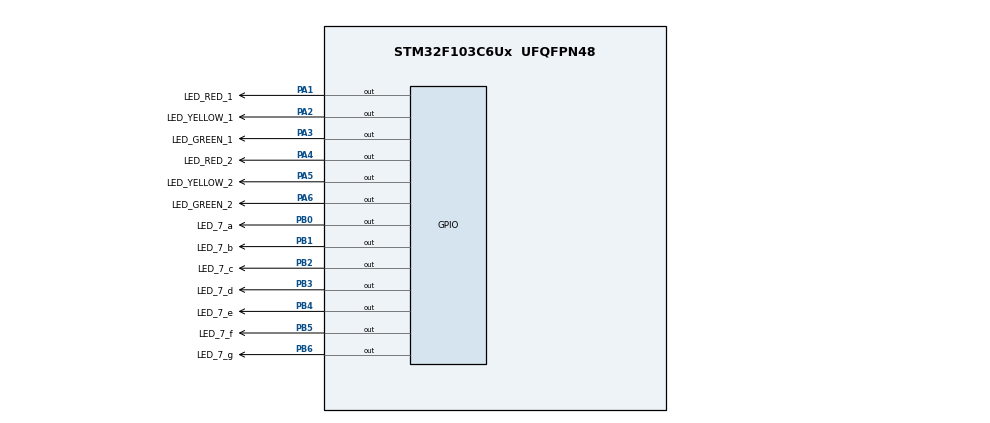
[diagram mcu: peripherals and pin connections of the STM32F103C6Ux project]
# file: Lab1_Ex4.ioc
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Mcu.Family=STM32F1
Mcu.Name=STM32F103C6Ux
Mcu.Package=UFQFPN48
NVIC.PriorityGroup=NVIC_PRIORITYGROUP_4
PA1.GPIO_Label=LED_RED_1
PA1.Signal=GPIO_Output
PA2.GPIO_Label=LED_YELLOW_1
PA2.Signal=GPIO_Output
PA3.GPIO_Label=LED_GREEN_1
PA3.Signal=GPIO_Output
PA4.GPIO_Label=LED_RED_2
PA4.Signal=GPIO_Output
PA5.GPIO_Label=LED_YELLOW_2
PA5.Signal=GPIO_Output
PA6.GPIO_Label=LED_GREEN_2
PA6.Signal=GPIO_Output
PB0.GPIO_Label=LED_7_a
PB0.Signal=GPIO_Output
PB1.GPIO_Label=LED_7_b
PB1.Signal=GPIO_Output
PB2.GPIO_Label=LED_7_c
PB2.Signal=GPIO_Output
PB3.GPIO_Label=LED_7_d
PB3.Signal=GPIO_Output
PB4.GPIO_Label=LED_7_e
PB4.Signal=GPIO_Output
PB5.GPIO_Label=LED_7_f
PB5.Signal=GPIO_Output
PB6.GPIO_Label=LED_7_g
PB6.Signal=GPIO_Output
ProjectManager.HeapSize=0x200
ProjectManager.StackSize=0x400
ProjectManager.TargetToolchain=STM32CubeIDE
RCC.APB1Freq_Value=8000000
RCC.APB2Freq_Value=8000000
VP_SYS_VS_ND.Mode=No_Debug
board=custom

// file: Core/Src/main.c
/* USER CODE BEGIN Header */
/**
  ******************************************************************************
  * @file           : main.c
  * @brief          : Main program body
  ******************************************************************************
  * @attention
  *
  * <h2><center>&copy; Copyright (c) 2022 STMicroelectronics.
  * All rights reserved.</center></h2>
  *
  * This software component is licensed by ST under BSD 3-Clause license,
  * the "License"; You may not use this file except in compliance with the
  * License. You may obtain a copy of the License at:
  *                        opensource.org/licenses/BSD-3-Clause
  *
  ******************************************************************************
  */
/* USER CODE END Header */
#include "main.h"

void SystemClock_Config(void);
static void MX_GPIO_Init(void);
/* USER CODE BEGIN PFP */
void display7SEG(int);
/* USER CODE END PFP */

int main(void)
{

  /* MCU Configuration--------------------------------------------------------*/

  /* Reset of all peripherals, Initializes the Flash interface and the Systick. */
  HAL_Init();

  /* Configure the system clock */
  SystemClock_Config();

  /* Initialize all configured peripherals */
  MX_GPIO_Init();
  int time_counter = 10;		// time counter
  int start = 0;				// flag to check if the leds are in their initial states or not
  int counter = 0;				// led 7-segment counter

  // set initial state for the horizontal leds
  HAL_GPIO_WritePin(LED_RED_1_GPIO_Port, LED_RED_1_Pin, GPIO_PIN_SET);
  HAL_GPIO_WritePin(LED_YELLOW_1_GPIO_Port, LED_YELLOW_1_Pin, GPIO_PIN_SET);
  HAL_GPIO_WritePin(LED_GREEN_1_GPIO_Port, LED_GREEN_1_Pin, GPIO_PIN_SET);

  // set initial state for the vertical leds
  HAL_GPIO_WritePin(LED_RED_2_GPIO_Port, LED_RED_2_Pin, GPIO_PIN_SET);
  HAL_GPIO_WritePin(LED_YELLOW_2_GPIO_Port, LED_YELLOW_2_Pin, GPIO_PIN_SET);
  HAL_GPIO_WritePin(LED_GREEN_2_GPIO_Port, LED_GREEN_2_Pin, GPIO_PIN_SET);
  /* Infinite loop */
  /* USER CODE BEGIN WHILE */
    while (1)
    {
    	// test led 7-segment
    	if (counter >= 10) counter = 0;
    	display7SEG(counter++);
      // RED horizontal ON, GREEN vertical ON
  	  if (start == 0){
  		  start = 1;
  		  HAL_GPIO_TogglePin(LED_RED_1_GPIO_Port, LED_RED_1_Pin);
  		  HAL_GPIO_TogglePin(LED_GREEN_2_GPIO_Port, LED_GREEN_2_Pin);
  	  }
  	  // GREEN vertical OFF, YELLOW vertical ON
  	  else if (time_counter == 8){
  		  HAL_GPIO_TogglePin(LED_GREEN_2_GPIO_Port, LED_GREEN_2_Pin);
  		  HAL_GPIO_TogglePin(LED_YELLOW_2_GPIO_Port, LED_YELLOW_2_Pin);
  	  }
  	  // RED horizontal and YELLOW vertical OFF, RED vertical and GREEN horizontal ON
  	  else if (time_counter == 5){
  		  HAL_GPIO_TogglePin(LED_RED_1_GPIO_Port, LED_RED_1_Pin);
  		  HAL_GPIO_TogglePin(LED_GREEN_1_GPIO_Port, LED_GREEN_1_Pin);
  		  HAL_GPIO_TogglePin(LED_YELLOW_2_GPIO_Port, LED_YELLOW_2_Pin);
  		  HAL_GPIO_TogglePin(LED_RED_2_GPIO_Port, LED_RED_2_Pin);
  	  }
  	  // GREEN horizontal OFF, YELLOW horizontal ON
  	  else if (time_counter == 3){
  		  HAL_GPIO_TogglePin(LED_GREEN_1_GPIO_Port, LED_GREEN_1_Pin);
  		  HAL_GPIO_TogglePin(LED_YELLOW_1_GPIO_Port, LED_YELLOW_1_Pin);
  	  }
  	  // YELLOW horizontal and RED vertical OFF, GREEN vertical and RED horizontal ON
  	  else if (time_counter == 0){
  		  time_counter = 10;
  		  HAL_GPIO_TogglePin(LED_YELLOW_1_GPIO_Port, LED_YELLOW_1_Pin);
  		  HAL_GPIO_TogglePin(LED_RED_1_GPIO_Port, LED_RED_1_Pin);
  		  HAL_GPIO_TogglePin(LED_RED_2_GPIO_Port, LED_RED_2_Pin);
  		  HAL_GPIO_TogglePin(LED_GREEN_2_GPIO_Port, LED_GREEN_2_Pin);
  	  }
  	  // decrement time_counter
  	  if (time_counter != 0) time_counter = time_counter - 1;
  	  HAL_Delay(1000);
    /* USER CODE END WHILE */

    }
}

void SystemClock_Config(void)
{
  RCC_OscInitTypeDef RCC_OscInitStruct = {0};
  RCC_ClkInitTypeDef RCC_ClkInitStruct = {0};

  /** Initializes the RCC Oscillators according to the specified parameters
  * in the RCC_OscInitTypeDef structure.
  */
  RCC_OscInitStruct.OscillatorType = RCC_OSCILLATORTYPE_HSI;
  RCC_OscInitStruct.HSIState = RCC_HSI_ON;
  RCC_OscInitStruct.HSICalibrationValue = RCC_HSICALIBRATION_DEFAULT;
  RCC_OscInitStruct.PLL.PLLState = RCC_PLL_NONE;
  if (HAL_RCC_OscConfig(&RCC_OscInitStruct) != HAL_OK)
  {
    Error_Handler();
  }
  /** Initializes the CPU, AHB and APB buses clocks
  */
  RCC_ClkInitStruct.ClockType = RCC_CLOCKTYPE_HCLK|RCC_CLOCKTYPE_SYSCLK
                              |RCC_CLOCKTYPE_PCLK1|RCC_CLOCKTYPE_PCLK2;
  RCC_ClkInitStruct.SYSCLKSource = RCC_SYSCLKSOURCE_HSI;
  RCC_ClkInitStruct.AHBCLKDivider = RCC_SYSCLK_DIV1;
  RCC_ClkInitStruct.APB1CLKDivider = RCC_HCLK_DIV1;
  RCC_ClkInitStruct.APB2CLKDivider = RCC_HCLK_DIV1;

  if (HAL_RCC_ClockConfig(&RCC_ClkInitStruct, FLASH_LATENCY_0) != HAL_OK)
  {
    Error_Handler();
  }
}

static void MX_GPIO_Init(void)
{
  GPIO_InitTypeDef GPIO_InitStruct = {0};

  /* GPIO Ports Clock Enable */
  __HAL_RCC_GPIOA_CLK_ENABLE();
  __HAL_RCC_GPIOB_CLK_ENABLE();

  /*Configure GPIO pin Output Level */
  HAL_GPIO_WritePin(GPIOA, LED_RED_1_Pin|LED_YELLOW_1_Pin|LED_GREEN_1_Pin|LED_RED_2_Pin
                          |LED_YELLOW_2_Pin|LED_GREEN_2_Pin, GPIO_PIN_RESET);

  /*Configure GPIO pin Output Level */
  HAL_GPIO_WritePin(GPIOB, LED_7_a_Pin|LED_7_b_Pin|LED_7_c_Pin|LED_7_d_Pin
                          |LED_7_e_Pin|LED_7_f_Pin|LED_7_g_Pin, GPIO_PIN_RESET);

  /*Configure GPIO pins : LED_RED_1_Pin LED_YELLOW_1_Pin LED_GREEN_1_Pin LED_RED_2_Pin
                           LED_YELLOW_2_Pin LED_GREEN_2_Pin */
  GPIO_InitStruct.Pin = LED_RED_1_Pin|LED_YELLOW_1_Pin|LED_GREEN_1_Pin|LED_RED_2_Pin
                          |LED_YELLOW_2_Pin|LED_GREEN_2_Pin;
  GPIO_InitStruct.Mode = GPIO_MODE_OUTPUT_PP;
  GPIO_InitStruct.Pull = GPIO_NOPULL;
  GPIO_InitStruct.Speed = GPIO_SPEED_FREQ_LOW;
  HAL_GPIO_Init(GPIOA, &GPIO_InitStruct);

  /*Configure GPIO pins : LED_7_a_Pin LED_7_b_Pin LED_7_c_Pin LED_7_d_Pin
                           LED_7_e_Pin LED_7_f_Pin LED_7_g_Pin */
  GPIO_InitStruct.Pin = LED_7_a_Pin|LED_7_b_Pin|LED_7_c_Pin|LED_7_d_Pin
                          |LED_7_e_Pin|LED_7_f_Pin|LED_7_g_Pin;
  GPIO_InitStruct.Mode = GPIO_MODE_OUTPUT_PP;
  GPIO_InitStruct.Pull = GPIO_NOPULL;
  GPIO_InitStruct.Speed = GPIO_SPEED_FREQ_LOW;
  HAL_GPIO_Init(GPIOB, &GPIO_InitStruct);

}

void Error_Handler(void)
{
  __disable_irq();
  while (1)
  {
  }
}

void display7SEG(int counter){
	if (counter == 0){
		HAL_GPIO_WritePin(LED_7_a_GPIO_Port, LED_7_a_Pin, GPIO_PIN_RESET);
		HAL_GPIO_WritePin(LED_7_b_GPIO_Port, LED_7_b_Pin, GPIO_PIN_RESET);
		HAL_GPIO_WritePin(LED_7_c_GPIO_Port, LED_7_c_Pin, GPIO_PIN_RESET);
		HAL_GPIO_WritePin(LED_7_d_GPIO_Port, LED_7_d_Pin, GPIO_PIN_RESET);
		HAL_GPIO_WritePin(LED_7_e_GPIO_Port, LED_7_e_Pin, GPIO_PIN_RESET);
		HAL_GPIO_WritePin(LED_7_f_GPIO_Port, LED_7_f_Pin, GPIO_PIN_RESET);
		HAL_GPIO_WritePin(LED_7_g_GPIO_Port, LED_7_g_Pin, GPIO_PIN_SET);
	}
	else if (counter == 1){
		HAL_GPIO_WritePin(LED_7_a_GPIO_Port, LED_7_a_Pin, GPIO_PIN_SET);
		HAL_GPIO_WritePin(LED_7_b_GPIO_Port, LED_7_b_Pin, GPIO_PIN_RESET);
		HAL_GPIO_WritePin(LED_7_c_GPIO_Port, LED_7_c_Pin, GPIO_PIN_RESET);
		HAL_GPIO_WritePin(LED_7_d_GPIO_Port, LED_7_d_Pin, GPIO_PIN_SET);
		HAL_GPIO_WritePin(LED_7_e_GPIO_Port, LED_7_e_Pin, GPIO_PIN_SET);
		HAL_GPIO_WritePin(LED_7_f_GPIO_Port, LED_7_f_Pin, GPIO_PIN_SET);
		HAL_GPIO_WritePin(LED_7_g_GPIO_Port, LED_7_g_Pin, GPIO_PIN_SET);
	}
	else if (counter == 2){
		HAL_GPIO_WritePin(LED_7_a_GPIO_Port, LED_7_a_Pin, GPIO_PIN_RESET);
		HAL_GPIO_WritePin(LED_7_b_GPIO_Port, LED_7_b_Pin, GPIO_PIN_RESET);
		HAL_GPIO_WritePin(LED_7_c_GPIO_Port, LED_7_c_Pin, GPIO_PIN_SET);
		HAL_GPIO_WritePin(LED_7_d_GPIO_Port, LED_7_d_Pin, GPIO_PIN_RESET);
		HAL_GPIO_WritePin(LED_7_e_GPIO_Port, LED_7_e_Pin, GPIO_PIN_RESET);
		HAL_GPIO_WritePin(LED_7_f_GPIO_Port, LED_7_f_Pin, GPIO_PIN_SET);
		HAL_GPIO_WritePin(LED_7_g_GPIO_Port, LED_7_g_Pin, GPIO_PIN_RESET);
	}
	else if (counter == 3){
		HAL_GPIO_WritePin(LED_7_a_GPIO_Port, LED_7_a_Pin, GPIO_PIN_RESET);
		HAL_GPIO_WritePin(LED_7_b_GPIO_Port, LED_7_b_Pin, GPIO_PIN_RESET);
		HAL_GPIO_WritePin(LED_7_c_GPIO_Port, LED_7_c_Pin, GPIO_PIN_RESET);
		HAL_GPIO_WritePin(LED_7_d_GPIO_Port, LED_7_d_Pin, GPIO_PIN_RESET);
		HAL_GPIO_WritePin(LED_7_e_GPIO_Port, LED_7_e_Pin, GPIO_PIN_SET);
		HAL_GPIO_WritePin(LED_7_f_GPIO_Port, LED_7_f_Pin, GPIO_PIN_SET);
		HAL_GPIO_WritePin(LED_7_g_GPIO_Port, LED_7_g_Pin, GPIO_PIN_RESET);
	}
	else if (counter == 4){
		HAL_GPIO_WritePin(LED_7_a_GPIO_Port, LED_7_a_Pin, GPIO_PIN_SET);
		HAL_GPIO_WritePin(LED_7_b_GPIO_Port, LED_7_b_Pin, GPIO_PIN_RESET);
		HAL_GPIO_WritePin(LED_7_c_GPIO_Port, LED_7_c_Pin, GPIO_PIN_RESET);
		HAL_GPIO_WritePin(LED_7_d_GPIO_Port, LED_7_d_Pin, GPIO_PIN_SET);
		HAL_GPIO_WritePin(LED_7_e_GPIO_Port, LED_7_e_Pin, GPIO_PIN_SET);
		HAL_GPIO_WritePin(LED_7_f_GPIO_Port, LED_7_f_Pin, GPIO_PIN_RESET);
		HAL_GPIO_WritePin(LED_7_g_GPIO_Port, LED_7_g_Pin, GPIO_PIN_RESET);
	}
	else if (counter == 5){
		HAL_GPIO_WritePin(LED_7_a_GPIO_Port, LED_7_a_Pin, GPIO_PIN_RESET);
		HAL_GPIO_WritePin(LED_7_b_GPIO_Port, LED_7_b_Pin, GPIO_PIN_SET);
		HAL_GPIO_WritePin(LED_7_c_GPIO_Port, LED_7_c_Pin, GPIO_PIN_RESET);
		HAL_GPIO_WritePin(LED_7_d_GPIO_Port, LED_7_d_Pin, GPIO_PIN_RESET);
		HAL_GPIO_WritePin(LED_7_e_GPIO_Port, LED_7_e_Pin, GPIO_PIN_SET);
		HAL_GPIO_WritePin(LED_7_f_GPIO_Port, LED_7_f_Pin, GPIO_PIN_RESET);
		HAL_GPIO_WritePin(LED_7_g_GPIO_Port, LED_7_g_Pin, GPIO_PIN_RESET);
	}
	else if (counter == 6){
		HAL_GPIO_WritePin(LED_7_a_GPIO_Port, LED_7_a_Pin, GPIO_PIN_RESET);
		HAL_GPIO_WritePin(LED_7_b_GPIO_Port, LED_7_b_Pin, GPIO_PIN_SET);
		HAL_GPIO_WritePin(LED_7_c_GPIO_Port, LED_7_c_Pin, GPIO_PIN_RESET);
		HAL_GPIO_WritePin(LED_7_d_GPIO_Port, LED_7_d_Pin, GPIO_PIN_RESET);
		HAL_GPIO_WritePin(LED_7_e_GPIO_Port, LED_7_e_Pin, GPIO_PIN_RESET);
		HAL_GPIO_WritePin(LED_7_f_GPIO_Port, LED_7_f_Pin, GPIO_PIN_RESET);
		HAL_GPIO_WritePin(LED_7_g_GPIO_Port, LED_7_g_Pin, GPIO_PIN_RESET);
	}
	else if (counter == 7){
		HAL_GPIO_WritePin(LED_7_a_GPIO_Port, LED_7_a_Pin, GPIO_PIN_RESET);
		HAL_GPIO_WritePin(LED_7_b_GPIO_Port, LED_7_b_Pin, GPIO_PIN_RESET);
		HAL_GPIO_WritePin(LED_7_c_GPIO_Port, LED_7_c_Pin, GPIO_PIN_RESET);
		HAL_GPIO_WritePin(LED_7_d_GPIO_Port, LED_7_d_Pin, GPIO_PIN_SET);
		HAL_GPIO_WritePin(LED_7_e_GPIO_Port, LED_7_e_Pin, GPIO_PIN_SET);
		HAL_GPIO_WritePin(LED_7_f_GPIO_Port, LED_7_f_Pin, GPIO_PIN_SET);
		HAL_GPIO_WritePin(LED_7_g_GPIO_Port, LED_7_g_Pin, GPIO_PIN_SET);
	}
	else if (counter == 8){
		HAL_GPIO_WritePin(LED_7_a_GPIO_Port, LED_7_a_Pin, GPIO_PIN_RESET);
		HAL_GPIO_WritePin(LED_7_b_GPIO_Port, LED_7_b_Pin, GPIO_PIN_RESET);
		HAL_GPIO_WritePin(LED_7_c_GPIO_Port, LED_7_c_Pin, GPIO_PIN_RESET);
		HAL_GPIO_WritePin(LED_7_d_GPIO_Port, LED_7_d_Pin, GPIO_PIN_RESET);
		HAL_GPIO_WritePin(LED_7_e_GPIO_Port, LED_7_e_Pin, GPIO_PIN_RESET);
		HAL_GPIO_WritePin(LED_7_f_GPIO_Port, LED_7_f_Pin, GPIO_PIN_RESET);
		HAL_GPIO_WritePin(LED_7_g_GPIO_Port, LED_7_g_Pin, GPIO_PIN_RESET);
	}
	else if (counter == 9){
		HAL_GPIO_WritePin(LED_7_a_GPIO_Port, LED_7_a_Pin, GPIO_PIN_RESET);
		HAL_GPIO_WritePin(LED_7_b_GPIO_Port, LED_7_b_Pin, GPIO_PIN_RESET);
		HAL_GPIO_WritePin(LED_7_c_GPIO_Port, LED_7_c_Pin, GPIO_PIN_RESET);
		HAL_GPIO_WritePin(LED_7_d_GPIO_Port, LED_7_d_Pin, GPIO_PIN_RESET);
		HAL_GPIO_WritePin(LED_7_e_GPIO_Port, LED_7_e_Pin, GPIO_PIN_SET);
		HAL_GPIO_WritePin(LED_7_f_GPIO_Port, LED_7_f_Pin, GPIO_PIN_RESET);
		HAL_GPIO_WritePin(LED_7_g_GPIO_Port, LED_7_g_Pin, GPIO_PIN_RESET);
	}
}

/************************ (C) COPYRIGHT STMicroelectronics *****END OF FILE****/
